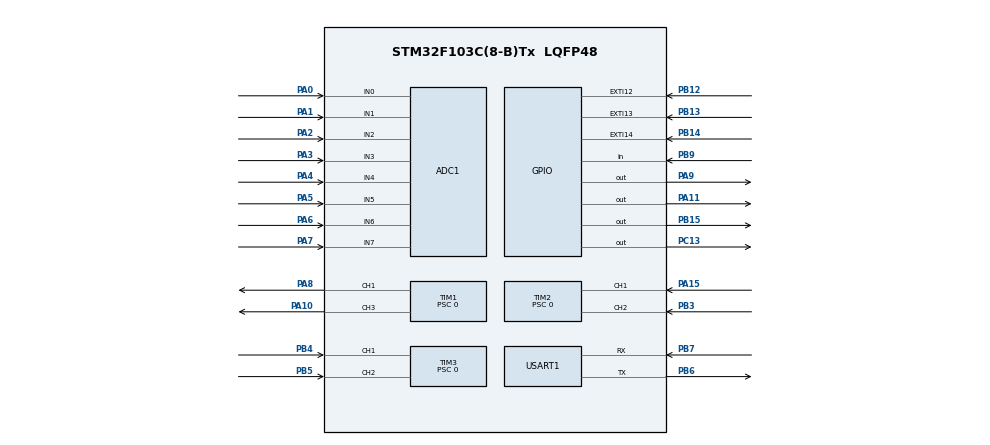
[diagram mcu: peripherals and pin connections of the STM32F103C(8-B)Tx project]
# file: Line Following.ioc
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ADC1.Channel-0\#ChannelRegularConversion=ADC_CHANNEL_0
ADC1.Channel-1\#ChannelRegularConversion=ADC_CHANNEL_1
ADC1.Channel-2\#ChannelRegularConversion=ADC_CHANNEL_2
ADC1.Channel-3\#ChannelRegularConversion=ADC_CHANNEL_3
ADC1.Channel-4\#ChannelRegularConversion=ADC_CHANNEL_4
ADC1.Channel-5\#ChannelRegularConversion=ADC_CHANNEL_5
ADC1.Channel-6\#ChannelRegularConversion=ADC_CHANNEL_6
ADC1.Channel-7\#ChannelRegularConversion=ADC_CHANNEL_7
ADC1.ContinuousConvMode=ENABLE
ADC1.NbrOfConversion=8
ADC1.NbrOfConversionFlag=1
ADC1.Rank-0\#ChannelRegularConversion=1
ADC1.Rank-1\#ChannelRegularConversion=2
ADC1.Rank-2\#ChannelRegularConversion=3
ADC1.Rank-3\#ChannelRegularConversion=4
ADC1.Rank-4\#ChannelRegularConversion=5
ADC1.Rank-5\#ChannelRegularConversion=6
ADC1.Rank-6\#ChannelRegularConversion=7
ADC1.Rank-7\#ChannelRegularConversion=8
ADC1.SamplingTime-0\#ChannelRegularConversion=ADC_SAMPLETIME_55CYCLES_5
ADC1.SamplingTime-1\#ChannelRegularConversion=ADC_SAMPLETIME_55CYCLES_5
ADC1.SamplingTime-2\#ChannelRegularConversion=ADC_SAMPLETIME_55CYCLES_5
ADC1.SamplingTime-3\#ChannelRegularConversion=ADC_SAMPLETIME_55CYCLES_5
ADC1.SamplingTime-4\#ChannelRegularConversion=ADC_SAMPLETIME_55CYCLES_5
ADC1.SamplingTime-5\#ChannelRegularConversion=ADC_SAMPLETIME_55CYCLES_5
ADC1.SamplingTime-6\#ChannelRegularConversion=ADC_SAMPLETIME_55CYCLES_5
ADC1.SamplingTime-7\#ChannelRegularConversion=ADC_SAMPLETIME_55CYCLES_5
ADC1.master=1
Dma.ADC1.0.Direction=DMA_PERIPH_TO_MEMORY
Dma.ADC1.0.Instance=DMA1_Channel1
Dma.ADC1.0.MemDataAlignment=DMA_MDATAALIGN_HALFWORD
Dma.ADC1.0.MemInc=DMA_MINC_ENABLE
Dma.ADC1.0.Mode=DMA_CIRCULAR
Dma.ADC1.0.PeriphDataAlignment=DMA_PDATAALIGN_HALFWORD
Dma.ADC1.0.PeriphInc=DMA_PINC_DISABLE
Dma.ADC1.0.Priority=DMA_PRIORITY_HIGH
Dma.Request0=ADC1
Mcu.Family=STM32F1
Mcu.Name=STM32F103C(8-B)Tx
Mcu.Package=LQFP48
NVIC.DMA1_Channel1_IRQn=true\:1\:0\:true\:false\:true\:false\:true
NVIC.EXTI15_10_IRQn=true\:2\:0\:true\:false\:true\:true\:true
NVIC.PriorityGroup=NVIC_PRIORITYGROUP_4
NVIC.TIM2_IRQn=true\:2\:0\:true\:false\:true\:true\:true
NVIC.TIM3_IRQn=true\:2\:0\:true\:false\:true\:true\:true
NVIC.TIM4_IRQn=true\:0\:0\:false\:false\:true\:true\:true
NVIC.USART1_IRQn=true\:2\:0\:true\:false\:true\:true\:true
PA0-WKUP.Signal=ADCx_IN0
PA1.Signal=ADCx_IN1
PA10.GPIO_Speed=GPIO_SPEED_FREQ_HIGH
PA10.Signal=S_TIM1_CH3
PA11.GPIO_Speed=GPIO_SPEED_FREQ_HIGH
PA11.PinState=GPIO_PIN_RESET
PA11.Signal=GPIO_Output
PA13.Mode=Serial_Wire
PA13.Signal=SYS_JTMS-SWDIO
PA14.Mode=Serial_Wire
PA14.Signal=SYS_JTCK-SWCLK
PA15.GPIO_Mode=GPIO_MODE_INPUT
PA15.GPIO_PuPd=GPIO_NOPULL
PA15.Signal=S_TIM2_CH1_ETR
PA2.Signal=ADCx_IN2
PA3.Signal=ADCx_IN3
PA4.Signal=ADCx_IN4
PA5.Signal=ADCx_IN5
PA6.Signal=ADCx_IN6
PA7.Signal=ADCx_IN7
PA8.GPIO_Speed=GPIO_SPEED_FREQ_HIGH
PA8.Signal=S_TIM1_CH1
PA9.Signal=GPIO_Output
PB12.Signal=GPXTI12
PB13.Signal=GPXTI13
PB14.Signal=GPXTI14
PB15.GPIO_Speed=GPIO_SPEED_FREQ_HIGH
PB15.Signal=GPIO_Output
PB3.GPIO_Mode=GPIO_MODE_INPUT
PB3.GPIO_PuPd=GPIO_NOPULL
PB3.Signal=S_TIM2_CH2
PB4.GPIO_Mode=GPIO_MODE_INPUT
PB4.Signal=S_TIM3_CH1
PB5.GPIO_Mode=GPIO_MODE_INPUT
PB5.Signal=S_TIM3_CH2
PB6.Mode=Asynchronous
PB6.Signal=USART1_TX
PB7.Mode=Asynchronous
PB7.Signal=USART1_RX
PB8.Signal=I2C1_SCL
PB9.GPIO_PuPd=GPIO_PULLUP
PB9.Signal=GPIO_Input
PC13-TAMPER-RTC.Signal=GPIO_Output
PD0-OSC_IN.Mode=HSE-External-Oscillator
PD0-OSC_IN.Signal=RCC_OSC_IN
PD1-OSC_OUT.Mode=HSE-External-Oscillator
PD1-OSC_OUT.Signal=RCC_OSC_OUT
ProjectManager.HeapSize=0x200
ProjectManager.StackSize=0x400
ProjectManager.TargetToolchain=STM32CubeIDE
RCC.ADCPresc=RCC_ADCPCLK2_DIV6
RCC.AHBFreq_Value=72000000
RCC.APB1CLKDivider=RCC_HCLK_DIV2
RCC.APB1Freq_Value=36000000
RCC.APB1TimFreq_Value=72000000
RCC.APB2Freq_Value=72000000
RCC.APB2TimFreq_Value=72000000
RCC.HCLKFreq_Value=72000000
RCC.PLLMUL=RCC_PLL_MUL9
RCC.PLLSourceVirtual=RCC_PLLSOURCE_HSE
RCC.SYSCLKFreq_VALUE=72000000
RCC.SYSCLKSource=RCC_SYSCLKSOURCE_PLLCLK
RCC.USBFreq_Value=72000000
RCC.VDD_VALUE=3.3
SH.ADCx_IN0.0=ADC1_IN0,IN0
SH.ADCx_IN1.0=ADC1_IN1,IN1
SH.ADCx_IN2.0=ADC1_IN2,IN2
SH.ADCx_IN3.0=ADC1_IN3,IN3
SH.ADCx_IN4.0=ADC1_IN4,IN4
SH.ADCx_IN5.0=ADC1_IN5,IN5
SH.ADCx_IN6.0=ADC1_IN6,IN6
SH.ADCx_IN7.0=ADC1_IN7,IN7
SH.S_TIM1_CH1.0=TIM1_CH1,PWM Generation1 CH1
SH.S_TIM1_CH3.0=TIM1_CH3,PWM Generation3 CH3
SH.S_TIM2_CH1_ETR.0=TIM2_CH1,Encoder_Interface
SH.S_TIM2_CH2.0=TIM2_CH2,Encoder_Interface
SH.S_TIM3_CH1.0=TIM3_CH1,Encoder_Interface
SH.S_TIM3_CH2.0=TIM3_CH2,Encoder_Interface
TIM1.AutoReloadPreload=TIM_AUTORELOAD_PRELOAD_DISABLE
TIM1.Channel-PWM\ Generation1\ CH1=TIM_CHANNEL_1
TIM1.Channel-PWM\ Generation3\ CH3=TIM_CHANNEL_3
TIM1.CounterMode=TIM_COUNTERMODE_UP
TIM1.OC1Preload_PWM=ENABLE
TIM1.OCIdleState_1=TIM_OCIDLESTATE_RESET
TIM1.OCPolarity_1=TIM_OCPOLARITY_HIGH
TIM1.Period=7199
TIM1.Prescaler=0
TIM1.Pulse-PWM\ Generation1\ CH1=0
TIM1.Pulse-PWM\ Generation3\ CH3=0
TIM2.AutoReloadPreload=TIM_AUTORELOAD_PRELOAD_DISABLE
TIM2.EncoderMode=TIM_ENCODERMODE_TI12
TIM2.IC1Filter=0
TIM2.IC1Polarity=TIM_ICPOLARITY_RISING
TIM2.IC2Filter=0
TIM2.IC2Polarity=TIM_ICPOLARITY_RISING
TIM2.Period=65535
TIM2.Prescaler=0
TIM3.EncoderMode=TIM_ENCODERMODE_TI12
TIM3.Period=65535
TIM3.Prescaler=0
TIM4.AutoReloadPreload=TIM_AUTORELOAD_PRELOAD_DISABLE
TIM4.Channel-Output\ Compare2\ No\ Output=TIM_CHANNEL_2
TIM4.Channel-PWM\ Generation1\ No\ Output=TIM_CHANNEL_1
TIM4.ClockDivision=TIM_CLOCKDIVISION_DIV1
TIM4.OC1Preload_PWM=DISABLE
TIM4.OCMode_2=TIM_OCMODE_TIMING
TIM4.OCPolarity_1=TIM_OCPOLARITY_HIGH
TIM4.Period=59999
TIM4.Prescaler=23
TIM4.Pulse-Output\ Compare2\ No\ Output=4500
TIM4.Pulse-PWM\ Generation1\ No\ Output=4500
USART1.VirtualMode=VM_ASYNC
USART1.WordLength=WORDLENGTH_9B
VP_TIM4_VS_ClockSourceINT.Mode=Internal
VP_TIM4_VS_no_output1.Mode=PWM Generation1 No Output
VP_TIM4_VS_no_output2.Mode=Output Compare2 No Output
board=custom

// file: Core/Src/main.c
/* USER CODE BEGIN Header */
/**
  ******************************************************************************
  * @file           : main.c
  * @brief          : Main program body
  ******************************************************************************
  * @attention
  *
  * <h2><center>&copy; Copyright (c) 2020 STMicroelectronics.
  * All rights reserved.</center></h2>
  *
  * This software component is licensed by ST under BSD 3-Clause license,
  * the "License"; You may not use this file except in compliance with the
  * License. You may obtain a copy of the License at:
  *                        opensource.org/licenses/BSD-3-Clause
  *
  ******************************************************************************
  */
/* USER CODE END Header */
#include "main.h"

/* USER CODE BEGIN Includes */

#include "MotorControl.h"
#include "PID.h"
/* USER CODE END Includes */

/* USER CODE BEGIN PD */
#define ADC1_DR_Address    ((uint32_t)0x4001244C)
#define ADC_Sample_Times	50000// So Lan doc ADC Lay nguong
#define NumberOfSensor 8

#define DiThang 0
#define LechPhai 1
#define LechTrai -1
#define chuyenLaneTrai -1
#define chuyenLanePhai 1
#define ServoStep 0.3
#define Center 0

//define variables for PID library
#define PID_L_KP 2.43
#define PID_L_KI 2.1
#define PID_L_KD 1.45

#define PID_R_KP 2.79
#define PID_R_KI 2.14
#define PID_R_KD 2.4

#define Car_Kp 0.94
#define Car_Kd 3.2
/* USER CODE END PD */

/* USER CODE BEGIN PM */
#define sbi(Reg, Bit) (Reg |= (1<<Bit))
#define cbi(Reg, Bit) (Reg &= ~(1<<Bit))
/* USER CODE END PM */

/* USER CODE BEGIN PV */

// Sensor Related Variable

volatile uint16_t Sensor_ADC_Value[8];
uint16_t Sensor_Threshold[] = {3000, 2200,3900, 3000, 2000 ,3700 , 3500, 2500};
uint8_t GetThreshold_Flag = 0;
int8_t MaxAngle = 70;
int16_t MaxSpeed = 5000;
// Motor Related Variable
uint8_t LineDetect = 0;
int8_t CarState = 0;
int8_t ChuyenLaneFlag = 0 ;
int8_t SpecialCaseFlag = 0;
int Motor_Speed_L,Motor_Speed_R;
float ServoAngle = 0;
PIDController pid_L = {400,PID_L_KP,PID_L_KI,PID_L_KD};
PIDController pid_R = {388,PID_R_KP,PID_R_KI,PID_R_KD};
PIDController Car = {0,Car_Kp,0,Car_Kd,-300,300};
/* USER CODE END PV */

void SystemClock_Config(void);
static void MX_GPIO_Init(void);
static void MX_DMA_Init(void);
static void MX_TIM1_Init(void);
static void MX_ADC1_Init(void);
static void MX_USART1_UART_Init(void);
static void MX_TIM2_Init(void);
static void MX_TIM3_Init(void);
static void MX_TIM4_Init(void);
/* USER CODE BEGIN PFP */

void GetThreshold();
void Sensor_Convert_A2D();
void Sensor_Print_Thres();
void Sensor_PrintValue();
void Sensor_Print_LineDetect();
void ChuyenLanTrai();
void ChuyenLanPhai();
void CuaVuongTrai();
void CuaVuongPhai();
void GoStraight();
int Error_Return (uint8_t Sensor_Array);
/* USER CODE END PFP */

/* USER CODE BEGIN 0 */
PUTCHAR_PROTOTYPE
{
	while (LL_USART_IsActiveFlag_TC(USART1)==0)
	{}
	LL_USART_TransmitData8(USART1,(uint8_t)ch);

  	return ch;
}
/* USER CODE END 0 */

int main(void)
{

  /* MCU Configuration--------------------------------------------------------*/

  /* Reset of all peripherals, Initializes the Flash interface and the Systick. */

  LL_APB2_GRP1_EnableClock(LL_APB2_GRP1_PERIPH_AFIO);
  LL_APB1_GRP1_EnableClock(LL_APB1_GRP1_PERIPH_PWR);

  NVIC_SetPriorityGrouping(NVIC_PRIORITYGROUP_4);

  /* System interrupt init*/
  /* MemoryManagement_IRQn interrupt configuration */
  NVIC_SetPriority(MemoryManagement_IRQn, NVIC_EncodePriority(NVIC_GetPriorityGrouping(),1, 0));
  /* BusFault_IRQn interrupt configuration */
  NVIC_SetPriority(BusFault_IRQn, NVIC_EncodePriority(NVIC_GetPriorityGrouping(),1, 0));
  /* UsageFault_IRQn interrupt configuration */
  NVIC_SetPriority(UsageFault_IRQn, NVIC_EncodePriority(NVIC_GetPriorityGrouping(),1, 0));
  /* SVCall_IRQn interrupt configuration */
  NVIC_SetPriority(SVCall_IRQn, NVIC_EncodePriority(NVIC_GetPriorityGrouping(),1, 0));
  /* DebugMonitor_IRQn interrupt configuration */
  NVIC_SetPriority(DebugMonitor_IRQn, NVIC_EncodePriority(NVIC_GetPriorityGrouping(),1, 0));
  /* PendSV_IRQn interrupt configuration */
  NVIC_SetPriority(PendSV_IRQn, NVIC_EncodePriority(NVIC_GetPriorityGrouping(),1, 0));
  /* SysTick_IRQn interrupt configuration */
  NVIC_SetPriority(SysTick_IRQn, NVIC_EncodePriority(NVIC_GetPriorityGrouping(),1, 0));

  /** NOJTAG: JTAG-DP Disabled and SW-DP Enabled
  */
  LL_GPIO_AF_Remap_SWJ_NOJTAG();

  /* USER CODE BEGIN Init */
  setvbuf(stdin, NULL, _IONBF, 0);
  setvbuf(stdout, NULL, _IONBF, 0);
  setvbuf(stderr, NULL, _IONBF, 0);
  /* USER CODE END Init */

  /* Configure the system clock */
  SystemClock_Config();

  /* Initialize all configured peripherals */
  MX_GPIO_Init();
  MX_DMA_Init();
  MX_TIM1_Init();
  MX_ADC1_Init();
  MX_USART1_UART_Init();
  MX_TIM2_Init();
  MX_TIM3_Init();
  MX_TIM4_Init();
  PIDController_L_Init(&pid_L);
  PIDController_R_Init(&pid_R);
  PIDController_Car_Init(&Car);
  /* USER CODE BEGIN 2 */
  MotorL_EnablePWM();
  MotorR_EnablePWM();
  MotorL_SetPWM(0);
  MotorR_SetPWM(0);
  Servo_SetAngle(Center);
  OC2_IT_Setmillis(2.5);
  /* USER CODE END 2 */

  /* Infinite loop */
  /* USER CODE BEGIN WHILE */
  while (1)
  {
	  Sensor_Convert_A2D();
//	  Sensor_Print_Thres();
//    Sensor_PrintValue();
//	  Sensor_Print_LineDetect();
//	  if(Btn1_Flag == 1)
//	  {
//		  Btn1_Flag = 0;
//		  Sensor_Print_LineDetect();
//	  }
//	  if(Btn2_Flag == 1)
//	  	  {
//	  		  Btn2_Flag = 0;
//	  		  ServoAngle += ServoStep;
//	  		  Servo_SetAngle(ServoAngle);
//	  		  printf("Servo Angle %g \n", ServoAngle);
//	  	  }
//	  if(Btn3_Flag == 1)
//	  	  {
//	  		  Btn3_Flag = 0;
//	  		  ServoAngle -= ServoStep;
//	  		  Servo_SetAngle(ServoAngle);
//	  		printf("Servo Angle %g \n", ServoAngle);
//	  	  }
	  Motor_Speed_R = 4000 + Line_Follower_PID(3500,Error_Return(LineDetect), &Car);
	  Motor_Speed_L = 4300 - Line_Follower_PID(3500,Error_Return(LineDetect), &Car);
	  Motor_Speed_R = Contants(Motor_Speed_R, -5000,5000);
	  Motor_Speed_L = Contants(Motor_Speed_L, -5300,5300);
	  MotorR_SetPWM(Motor_Speed_R);
	  MotorL_SetPWM(Motor_Speed_L);

    /* USER CODE END WHILE */

    /* USER CODE BEGIN 3 */
   }
//
  /* USER CODE END 3 */
}

void SystemClock_Config(void)
{
  LL_FLASH_SetLatency(LL_FLASH_LATENCY_2);
  while(LL_FLASH_GetLatency()!= LL_FLASH_LATENCY_2)
  {
  }
  LL_RCC_HSE_Enable();

   /* Wait till HSE is ready */
  while(LL_RCC_HSE_IsReady() != 1)
  {

  }
  LL_RCC_PLL_ConfigDomain_SYS(LL_RCC_PLLSOURCE_HSE_DIV_1, LL_RCC_PLL_MUL_9);
  LL_RCC_PLL_Enable();

   /* Wait till PLL is ready */
  while(LL_RCC_PLL_IsReady() != 1)
  {

  }
  LL_RCC_SetAHBPrescaler(LL_RCC_SYSCLK_DIV_1);
  LL_RCC_SetAPB1Prescaler(LL_RCC_APB1_DIV_2);
  LL_RCC_SetAPB2Prescaler(LL_RCC_APB2_DIV_1);
  LL_RCC_SetSysClkSource(LL_RCC_SYS_CLKSOURCE_PLL);

   /* Wait till System clock is ready */
  while(LL_RCC_GetSysClkSource() != LL_RCC_SYS_CLKSOURCE_STATUS_PLL)
  {

  }
  LL_Init1msTick(72000000);
  LL_SetSystemCoreClock(72000000);
  LL_RCC_SetADCClockSource(LL_RCC_ADC_CLKSRC_PCLK2_DIV_6);
}

static void MX_ADC1_Init(void)
{

  LL_ADC_InitTypeDef ADC_InitStruct = {0};
  LL_ADC_CommonInitTypeDef ADC_CommonInitStruct = {0};
  LL_ADC_REG_InitTypeDef ADC_REG_InitStruct = {0};

  LL_GPIO_InitTypeDef GPIO_InitStruct = {0};

  /* Peripheral clock enable */
  LL_APB2_GRP1_EnableClock(LL_APB2_GRP1_PERIPH_ADC1);

  LL_APB2_GRP1_EnableClock(LL_APB2_GRP1_PERIPH_GPIOA);
  /**ADC1 GPIO Configuration
  PA0-WKUP   ------> ADC1_IN0
  PA1   ------> ADC1_IN1
  PA2   ------> ADC1_IN2
  PA3   ------> ADC1_IN3
  PA4   ------> ADC1_IN4
  PA5   ------> ADC1_IN5
  PA6   ------> ADC1_IN6
  PA7   ------> ADC1_IN7
  */
  GPIO_InitStruct.Pin = LL_GPIO_PIN_0|LL_GPIO_PIN_1|LL_GPIO_PIN_2|LL_GPIO_PIN_3
                          |LL_GPIO_PIN_4|LL_GPIO_PIN_5|LL_GPIO_PIN_6|LL_GPIO_PIN_7;
  GPIO_InitStruct.Mode = LL_GPIO_MODE_ANALOG;
  LL_GPIO_Init(GPIOA, &GPIO_InitStruct);

  /* ADC1 DMA Init */

  /* ADC1 Init */
  LL_DMA_SetDataTransferDirection(DMA1, LL_DMA_CHANNEL_1, LL_DMA_DIRECTION_PERIPH_TO_MEMORY);

  LL_DMA_SetChannelPriorityLevel(DMA1, LL_DMA_CHANNEL_1, LL_DMA_PRIORITY_HIGH);

  LL_DMA_SetMode(DMA1, LL_DMA_CHANNEL_1, LL_DMA_MODE_CIRCULAR);

  LL_DMA_SetPeriphIncMode(DMA1, LL_DMA_CHANNEL_1, LL_DMA_PERIPH_NOINCREMENT);

  LL_DMA_SetMemoryIncMode(DMA1, LL_DMA_CHANNEL_1, LL_DMA_MEMORY_INCREMENT);

  LL_DMA_SetPeriphSize(DMA1, LL_DMA_CHANNEL_1, LL_DMA_PDATAALIGN_HALFWORD);

  LL_DMA_SetMemorySize(DMA1, LL_DMA_CHANNEL_1, LL_DMA_MDATAALIGN_HALFWORD);

  /* USER CODE BEGIN ADC1_Init 1 */
  LL_DMA_SetDataLength(DMA1,LL_DMA_CHANNEL_1,8);
  LL_DMA_SetMemoryAddress(DMA1, LL_DMA_CHANNEL_1, (uint32_t) &Sensor_ADC_Value);
  LL_DMA_SetPeriphAddress(DMA1,LL_DMA_CHANNEL_1,ADC1_DR_Address);
  LL_DMA_EnableChannel(DMA1,LL_DMA_CHANNEL_1);
  /* USER CODE END ADC1_Init 1 */
  /** Common config
  */
  ADC_InitStruct.DataAlignment = LL_ADC_DATA_ALIGN_RIGHT;
  ADC_InitStruct.SequencersScanMode = LL_ADC_SEQ_SCAN_ENABLE;
  LL_ADC_Init(ADC1, &ADC_InitStruct);
  ADC_CommonInitStruct.Multimode = LL_ADC_MULTI_INDEPENDENT;
  LL_ADC_CommonInit(__LL_ADC_COMMON_INSTANCE(ADC1), &ADC_CommonInitStruct);
  ADC_REG_InitStruct.TriggerSource = LL_ADC_REG_TRIG_SOFTWARE;
  ADC_REG_InitStruct.SequencerLength = LL_ADC_REG_SEQ_SCAN_ENABLE_8RANKS;
  ADC_REG_InitStruct.SequencerDiscont = LL_ADC_REG_SEQ_DISCONT_DISABLE;
  ADC_REG_InitStruct.ContinuousMode = LL_ADC_REG_CONV_CONTINUOUS;
  ADC_REG_InitStruct.DMATransfer = LL_ADC_REG_DMA_TRANSFER_UNLIMITED;
  LL_ADC_REG_Init(ADC1, &ADC_REG_InitStruct);
  /** Configure Regular Channel
  */
  LL_ADC_REG_SetSequencerRanks(ADC1, LL_ADC_REG_RANK_1, LL_ADC_CHANNEL_0);
  LL_ADC_SetChannelSamplingTime(ADC1, LL_ADC_CHANNEL_0, LL_ADC_SAMPLINGTIME_55CYCLES_5);
  /** Configure Regular Channel
  */
  LL_ADC_REG_SetSequencerRanks(ADC1, LL_ADC_REG_RANK_2, LL_ADC_CHANNEL_1);
  LL_ADC_SetChannelSamplingTime(ADC1, LL_ADC_CHANNEL_1, LL_ADC_SAMPLINGTIME_55CYCLES_5);
  /** Configure Regular Channel
  */
  LL_ADC_REG_SetSequencerRanks(ADC1, LL_ADC_REG_RANK_3, LL_ADC_CHANNEL_2);
  LL_ADC_SetChannelSamplingTime(ADC1, LL_ADC_CHANNEL_2, LL_ADC_SAMPLINGTIME_55CYCLES_5);
  /** Configure Regular Channel
  */
  LL_ADC_REG_SetSequencerRanks(ADC1, LL_ADC_REG_RANK_4, LL_ADC_CHANNEL_3);
  LL_ADC_SetChannelSamplingTime(ADC1, LL_ADC_CHANNEL_3, LL_ADC_SAMPLINGTIME_55CYCLES_5);
  /** Configure Regular Channel
  */
  LL_ADC_REG_SetSequencerRanks(ADC1, LL_ADC_REG_RANK_5, LL_ADC_CHANNEL_4);
  LL_ADC_SetChannelSamplingTime(ADC1, LL_ADC_CHANNEL_4, LL_ADC_SAMPLINGTIME_55CYCLES_5);
  /** Configure Regular Channel
  */
  LL_ADC_REG_SetSequencerRanks(ADC1, LL_ADC_REG_RANK_6, LL_ADC_CHANNEL_5);
  LL_ADC_SetChannelSamplingTime(ADC1, LL_ADC_CHANNEL_5, LL_ADC_SAMPLINGTIME_55CYCLES_5);
  /** Configure Regular Channel
  */
  LL_ADC_REG_SetSequencerRanks(ADC1, LL_ADC_REG_RANK_7, LL_ADC_CHANNEL_6);
  LL_ADC_SetChannelSamplingTime(ADC1, LL_ADC_CHANNEL_6, LL_ADC_SAMPLINGTIME_55CYCLES_5);
  /** Configure Regular Channel
  */
  LL_ADC_REG_SetSequencerRanks(ADC1, LL_ADC_REG_RANK_8, LL_ADC_CHANNEL_7);
  LL_ADC_SetChannelSamplingTime(ADC1, LL_ADC_CHANNEL_7, LL_ADC_SAMPLINGTIME_55CYCLES_5);
  /* USER CODE BEGIN ADC1_Init 2 */

  LL_ADC_REG_SetDMATransfer(ADC1,LL_ADC_REG_DMA_TRANSFER_UNLIMITED);
  /* Khoi dong bo ADC */
  LL_ADC_Enable(ADC1);
  LL_ADC_StartCalibration(ADC1);

  	/* Cho trang thai cablib duoc bat *
  	 *
  	 */
  while(LL_ADC_IsCalibrationOnGoing(ADC1));

  	/* Bat dau chuyen doi ADC */
  LL_ADC_REG_StartConversionSWStart (ADC1);
  /* USER CODE END ADC1_Init 2 */

}

static void MX_TIM1_Init(void)
{

  LL_TIM_InitTypeDef TIM_InitStruct = {0};
  LL_TIM_OC_InitTypeDef TIM_OC_InitStruct = {0};
  LL_TIM_BDTR_InitTypeDef TIM_BDTRInitStruct = {0};

  LL_GPIO_InitTypeDef GPIO_InitStruct = {0};

  /* Peripheral clock enable */
  LL_APB2_GRP1_EnableClock(LL_APB2_GRP1_PERIPH_TIM1);

  TIM_InitStruct.Prescaler = 0;
  TIM_InitStruct.CounterMode = LL_TIM_COUNTERMODE_UP;
  TIM_InitStruct.Autoreload = 7199;
  TIM_InitStruct.ClockDivision = LL_TIM_CLOCKDIVISION_DIV1;
  TIM_InitStruct.RepetitionCounter = 0;
  LL_TIM_Init(TIM1, &TIM_InitStruct);
  LL_TIM_DisableARRPreload(TIM1);
  LL_TIM_OC_EnablePreload(TIM1, LL_TIM_CHANNEL_CH1);
  TIM_OC_InitStruct.OCMode = LL_TIM_OCMODE_PWM1;
  TIM_OC_InitStruct.OCState = LL_TIM_OCSTATE_DISABLE;
  TIM_OC_InitStruct.OCNState = LL_TIM_OCSTATE_DISABLE;
  TIM_OC_InitStruct.CompareValue = 0;
  TIM_OC_InitStruct.OCPolarity = LL_TIM_OCPOLARITY_HIGH;
  TIM_OC_InitStruct.OCNPolarity = LL_TIM_OCPOLARITY_HIGH;
  TIM_OC_InitStruct.OCIdleState = LL_TIM_OCIDLESTATE_LOW;
  TIM_OC_InitStruct.OCNIdleState = LL_TIM_OCIDLESTATE_LOW;
  LL_TIM_OC_Init(TIM1, LL_TIM_CHANNEL_CH1, &TIM_OC_InitStruct);
  LL_TIM_OC_DisableFast(TIM1, LL_TIM_CHANNEL_CH1);
  LL_TIM_OC_EnablePreload(TIM1, LL_TIM_CHANNEL_CH3);
  TIM_OC_InitStruct.OCState = LL_TIM_OCSTATE_DISABLE;
  TIM_OC_InitStruct.OCNState = LL_TIM_OCSTATE_DISABLE;
  LL_TIM_OC_Init(TIM1, LL_TIM_CHANNEL_CH3, &TIM_OC_InitStruct);
  LL_TIM_OC_DisableFast(TIM1, LL_TIM_CHANNEL_CH3);
  LL_TIM_SetTriggerOutput(TIM1, LL_TIM_TRGO_RESET);
  LL_TIM_DisableMasterSlaveMode(TIM1);
  TIM_BDTRInitStruct.OSSRState = LL_TIM_OSSR_DISABLE;
  TIM_BDTRInitStruct.OSSIState = LL_TIM_OSSI_DISABLE;
  TIM_BDTRInitStruct.LockLevel = LL_TIM_LOCKLEVEL_OFF;
  TIM_BDTRInitStruct.DeadTime = 0;
  TIM_BDTRInitStruct.BreakState = LL_TIM_BREAK_DISABLE;
  TIM_BDTRInitStruct.BreakPolarity = LL_TIM_BREAK_POLARITY_HIGH;
  TIM_BDTRInitStruct.AutomaticOutput = LL_TIM_AUTOMATICOUTPUT_DISABLE;
  LL_TIM_BDTR_Init(TIM1, &TIM_BDTRInitStruct);
  /* USER CODE BEGIN TIM1_Init 2 */
  LL_TIM_EnableIT_UPDATE(TIM1);
  LL_TIM_SetCounter(TIM1,0);
  LL_TIM_EnableAllOutputs(TIM1);
  LL_TIM_EnableCounter(TIM1);

  /* USER CODE END TIM1_Init 2 */
  LL_APB2_GRP1_EnableClock(LL_APB2_GRP1_PERIPH_GPIOA);
  /**TIM1 GPIO Configuration
  PA8   ------> TIM1_CH1
  PA10   ------> TIM1_CH3
  */
  GPIO_InitStruct.Pin = LL_GPIO_PIN_8|LL_GPIO_PIN_10;
  GPIO_InitStruct.Mode = LL_GPIO_MODE_ALTERNATE;
  GPIO_InitStruct.Speed = LL_GPIO_SPEED_FREQ_HIGH;
  GPIO_InitStruct.OutputType = LL_GPIO_OUTPUT_PUSHPULL;
  LL_GPIO_Init(GPIOA, &GPIO_InitStruct);

}

static void MX_TIM2_Init(void)
{

  LL_TIM_InitTypeDef TIM_InitStruct = {0};

  LL_GPIO_InitTypeDef GPIO_InitStruct = {0};

  /* Peripheral clock enable */
  LL_APB1_GRP1_EnableClock(LL_APB1_GRP1_PERIPH_TIM2);

  LL_APB2_GRP1_EnableClock(LL_APB2_GRP1_PERIPH_GPIOA);
  LL_APB2_GRP1_EnableClock(LL_APB2_GRP1_PERIPH_GPIOB);
  /**TIM2 GPIO Configuration
  PA15   ------> TIM2_CH1
  PB3   ------> TIM2_CH2
  */
  GPIO_InitStruct.Pin = LL_GPIO_PIN_15;
  GPIO_InitStruct.Mode = LL_GPIO_MODE_FLOATING;
  LL_GPIO_Init(GPIOA, &GPIO_InitStruct);

  GPIO_InitStruct.Pin = LL_GPIO_PIN_3;
  GPIO_InitStruct.Mode = LL_GPIO_MODE_FLOATING;
  LL_GPIO_Init(GPIOB, &GPIO_InitStruct);

  /* TIM2 interrupt Init */
  NVIC_SetPriority(TIM2_IRQn, NVIC_EncodePriority(NVIC_GetPriorityGrouping(),2, 0));
  NVIC_EnableIRQ(TIM2_IRQn);

  /* USER CODE BEGIN TIM2_Init 1 */
  LL_GPIO_AF_EnableRemap_TIM2();
  /* USER CODE END TIM2_Init 1 */
  LL_TIM_SetEncoderMode(TIM2, LL_TIM_ENCODERMODE_X4_TI12);
  LL_TIM_IC_SetActiveInput(TIM2, LL_TIM_CHANNEL_CH1, LL_TIM_ACTIVEINPUT_DIRECTTI);
  LL_TIM_IC_SetPrescaler(TIM2, LL_TIM_CHANNEL_CH1, LL_TIM_ICPSC_DIV1);
  LL_TIM_IC_SetFilter(TIM2, LL_TIM_CHANNEL_CH1, LL_TIM_IC_FILTER_FDIV1);
  LL_TIM_IC_SetPolarity(TIM2, LL_TIM_CHANNEL_CH1, LL_TIM_IC_POLARITY_RISING);
  LL_TIM_IC_SetActiveInput(TIM2, LL_TIM_CHANNEL_CH2, LL_TIM_ACTIVEINPUT_DIRECTTI);
  LL_TIM_IC_SetPrescaler(TIM2, LL_TIM_CHANNEL_CH2, LL_TIM_ICPSC_DIV1);
  LL_TIM_IC_SetFilter(TIM2, LL_TIM_CHANNEL_CH2, LL_TIM_IC_FILTER_FDIV1);
  LL_TIM_IC_SetPolarity(TIM2, LL_TIM_CHANNEL_CH2, LL_TIM_IC_POLARITY_RISING);
  TIM_InitStruct.Prescaler = 0;
  TIM_InitStruct.CounterMode = LL_TIM_COUNTERMODE_UP;
  TIM_InitStruct.Autoreload = 65535;
  TIM_InitStruct.ClockDivision = LL_TIM_CLOCKDIVISION_DIV1;
  LL_TIM_Init(TIM2, &TIM_InitStruct);
  LL_TIM_DisableARRPreload(TIM2);
  LL_TIM_SetTriggerOutput(TIM2, LL_TIM_TRGO_RESET);
  LL_TIM_DisableMasterSlaveMode(TIM2);
  /* USER CODE BEGIN TIM2_Init 2 */
//  LL_TIM_CC_EnableChannel(TIM2,LL_TIM_CHANNEL_CH1);
//  LL_TIM_CC_EnableChannel(TIM2,LL_TIM_CHANNEL_CH2);
  LL_TIM_SetCounter(TIM2,0);
  LL_TIM_ClearFlag_UPDATE(TIM2);
  LL_TIM_EnableIT_UPDATE(TIM2);
  LL_TIM_EnableCounter(TIM2);
  /* USER CODE END TIM2_Init 2 */

}

static void MX_TIM3_Init(void)
{

  LL_TIM_InitTypeDef TIM_InitStruct = {0};

  LL_GPIO_InitTypeDef GPIO_InitStruct = {0};

  /* Peripheral clock enable */
  LL_APB1_GRP1_EnableClock(LL_APB1_GRP1_PERIPH_TIM3);

  LL_APB2_GRP1_EnableClock(LL_APB2_GRP1_PERIPH_GPIOB);
  /**TIM3 GPIO Configuration
  PB4   ------> TIM3_CH1
  PB5   ------> TIM3_CH2
  */
  GPIO_InitStruct.Pin = LL_GPIO_PIN_4|LL_GPIO_PIN_5;
  GPIO_InitStruct.Mode = LL_GPIO_MODE_FLOATING;
  LL_GPIO_Init(GPIOB, &GPIO_InitStruct);

  /* TIM3 interrupt Init */
  NVIC_SetPriority(TIM3_IRQn, NVIC_EncodePriority(NVIC_GetPriorityGrouping(),2, 0));
  NVIC_EnableIRQ(TIM3_IRQn);

  /* USER CODE BEGIN TIM3_Init 1 */
  LL_GPIO_AF_RemapPartial_TIM3();
  /* USER CODE END TIM3_Init 1 */
  LL_TIM_SetEncoderMode(TIM3, LL_TIM_ENCODERMODE_X4_TI12);
  LL_TIM_IC_SetActiveInput(TIM3, LL_TIM_CHANNEL_CH1, LL_TIM_ACTIVEINPUT_DIRECTTI);
  LL_TIM_IC_SetPrescaler(TIM3, LL_TIM_CHANNEL_CH1, LL_TIM_ICPSC_DIV1);
  LL_TIM_IC_SetFilter(TIM3, LL_TIM_CHANNEL_CH1, LL_TIM_IC_FILTER_FDIV1);
  LL_TIM_IC_SetPolarity(TIM3, LL_TIM_CHANNEL_CH1, LL_TIM_IC_POLARITY_RISING);
  LL_TIM_IC_SetActiveInput(TIM3, LL_TIM_CHANNEL_CH2, LL_TIM_ACTIVEINPUT_DIRECTTI);
  LL_TIM_IC_SetPrescaler(TIM3, LL_TIM_CHANNEL_CH2, LL_TIM_ICPSC_DIV1);
  LL_TIM_IC_SetFilter(TIM3, LL_TIM_CHANNEL_CH2, LL_TIM_IC_FILTER_FDIV1);
  LL_TIM_IC_SetPolarity(TIM3, LL_TIM_CHANNEL_CH2, LL_TIM_IC_POLARITY_RISING);
  TIM_InitStruct.Prescaler = 0;
  TIM_InitStruct.CounterMode = LL_TIM_COUNTERMODE_UP;
  TIM_InitStruct.Autoreload = 65535;
  TIM_InitStruct.ClockDivision = LL_TIM_CLOCKDIVISION_DIV1;
  LL_TIM_Init(TIM3, &TIM_InitStruct);
  LL_TIM_DisableARRPreload(TIM3);
  LL_TIM_SetTriggerOutput(TIM3, LL_TIM_TRGO_RESET);
  LL_TIM_DisableMasterSlaveMode(TIM3);
  /* USER CODE BEGIN TIM3_Init 2 */
  LL_TIM_ClearFlag_UPDATE(TIM3);
  LL_TIM_EnableIT_UPDATE(TIM3);
  LL_TIM_SetCounter(TIM3,0);
   LL_TIM_EnableCounter(TIM3);

  /* USER CODE END TIM3_Init 2 */

}

static void MX_TIM4_Init(void)
{

  LL_TIM_InitTypeDef TIM_InitStruct = {0};
  LL_TIM_OC_InitTypeDef TIM_OC_InitStruct = {0};

  /* Peripheral clock enable */
  LL_APB1_GRP1_EnableClock(LL_APB1_GRP1_PERIPH_TIM4);

  /* TIM4 interrupt Init */
  NVIC_SetPriority(TIM4_IRQn, NVIC_EncodePriority(NVIC_GetPriorityGrouping(),0, 0));
  NVIC_EnableIRQ(TIM4_IRQn);

  TIM_InitStruct.Prescaler = 23;
  TIM_InitStruct.CounterMode = LL_TIM_COUNTERMODE_UP;
  TIM_InitStruct.Autoreload = 59999;
  TIM_InitStruct.ClockDivision = LL_TIM_CLOCKDIVISION_DIV1;
  LL_TIM_Init(TIM4, &TIM_InitStruct);
  LL_TIM_DisableARRPreload(TIM4);
  LL_TIM_SetClockSource(TIM4, LL_TIM_CLOCKSOURCE_INTERNAL);
  LL_TIM_OC_EnablePreload(TIM4, LL_TIM_CHANNEL_CH1);
  TIM_OC_InitStruct.OCMode = LL_TIM_OCMODE_PWM1;
  TIM_OC_InitStruct.OCState = LL_TIM_OCSTATE_DISABLE;
  TIM_OC_InitStruct.OCNState = LL_TIM_OCSTATE_DISABLE;
  TIM_OC_InitStruct.CompareValue = 4500;
  TIM_OC_InitStruct.OCPolarity = LL_TIM_OCPOLARITY_HIGH;
  LL_TIM_OC_Init(TIM4, LL_TIM_CHANNEL_CH1, &TIM_OC_InitStruct);
  LL_TIM_OC_DisableFast(TIM4, LL_TIM_CHANNEL_CH1);
  TIM_OC_InitStruct.OCMode = LL_TIM_OCMODE_FROZEN;
  TIM_OC_InitStruct.OCState = LL_TIM_OCSTATE_DISABLE;
  TIM_OC_InitStruct.OCNState = LL_TIM_OCSTATE_DISABLE;
  LL_TIM_OC_Init(TIM4, LL_TIM_CHANNEL_CH2, &TIM_OC_InitStruct);
  LL_TIM_OC_DisableFast(TIM4, LL_TIM_CHANNEL_CH2);
  LL_TIM_SetTriggerOutput(TIM4, LL_TIM_TRGO_RESET);
  LL_TIM_DisableMasterSlaveMode(TIM4);
  LL_TIM_OC_DisablePreload(TIM4, LL_TIM_CHANNEL_CH1);
  /* USER CODE BEGIN TIM4_Init 2 */

  LL_TIM_EnableIT_UPDATE(TIM4);
  LL_TIM_ClearFlag_UPDATE(TIM4);

  LL_TIM_EnableIT_CC1(TIM4);
  LL_TIM_ClearFlag_CC1(TIM4);
//
  LL_TIM_EnableIT_CC2(TIM4);
  LL_TIM_ClearFlag_CC2(TIM4);

  LL_TIM_SetCounter(TIM4,0);
  LL_TIM_EnableCounter(TIM4);

  /* USER CODE END TIM4_Init 2 */

}

static void MX_USART1_UART_Init(void)
{

  LL_USART_InitTypeDef USART_InitStruct = {0};

  LL_GPIO_InitTypeDef GPIO_InitStruct = {0};

  /* Peripheral clock enable */
  LL_APB2_GRP1_EnableClock(LL_APB2_GRP1_PERIPH_USART1);

  LL_APB2_GRP1_EnableClock(LL_APB2_GRP1_PERIPH_GPIOB);
  /**USART1 GPIO Configuration
  PB6   ------> USART1_TX
  PB7   ------> USART1_RX
  */
  GPIO_InitStruct.Pin = LL_GPIO_PIN_6;
  GPIO_InitStruct.Mode = LL_GPIO_MODE_ALTERNATE;
  GPIO_InitStruct.Speed = LL_GPIO_SPEED_FREQ_HIGH;
  GPIO_InitStruct.OutputType = LL_GPIO_OUTPUT_PUSHPULL;
  LL_GPIO_Init(GPIOB, &GPIO_InitStruct);

  GPIO_InitStruct.Pin = LL_GPIO_PIN_7;
  GPIO_InitStruct.Mode = LL_GPIO_MODE_FLOATING;
  LL_GPIO_Init(GPIOB, &GPIO_InitStruct);

  LL_GPIO_AF_EnableRemap_USART1();

  /* USART1 interrupt Init */
  NVIC_SetPriority(USART1_IRQn, NVIC_EncodePriority(NVIC_GetPriorityGrouping(),2, 0));
  NVIC_EnableIRQ(USART1_IRQn);

  USART_InitStruct.BaudRate = 115200;
  USART_InitStruct.DataWidth = LL_USART_DATAWIDTH_9B;
  USART_InitStruct.StopBits = LL_USART_STOPBITS_1;
  USART_InitStruct.Parity = LL_USART_PARITY_NONE;
  USART_InitStruct.TransferDirection = LL_USART_DIRECTION_TX_RX;
  USART_InitStruct.HardwareFlowControl = LL_USART_HWCONTROL_NONE;
  USART_InitStruct.OverSampling = LL_USART_OVERSAMPLING_16;
  LL_USART_Init(USART1, &USART_InitStruct);
  LL_USART_ConfigAsyncMode(USART1);
  LL_USART_Enable(USART1);

}

static void MX_DMA_Init(void)
{

  /* Init with LL driver */
  /* DMA controller clock enable */
  LL_AHB1_GRP1_EnableClock(LL_AHB1_GRP1_PERIPH_DMA1);

  /* DMA interrupt init */
  /* DMA1_Channel1_IRQn interrupt configuration */
  NVIC_SetPriority(DMA1_Channel1_IRQn, NVIC_EncodePriority(NVIC_GetPriorityGrouping(),1, 0));
  NVIC_EnableIRQ(DMA1_Channel1_IRQn);

}

static void MX_GPIO_Init(void)
{
  LL_EXTI_InitTypeDef EXTI_InitStruct = {0};
  LL_GPIO_InitTypeDef GPIO_InitStruct = {0};

  /* GPIO Ports Clock Enable */
  LL_APB2_GRP1_EnableClock(LL_APB2_GRP1_PERIPH_GPIOC);
  LL_APB2_GRP1_EnableClock(LL_APB2_GRP1_PERIPH_GPIOD);
  LL_APB2_GRP1_EnableClock(LL_APB2_GRP1_PERIPH_GPIOA);
  LL_APB2_GRP1_EnableClock(LL_APB2_GRP1_PERIPH_GPIOB);

  /**/
  LL_GPIO_ResetOutputPin(GPIOC, LL_GPIO_PIN_13);

  /**/
  LL_GPIO_ResetOutputPin(GPIOB, LL_GPIO_PIN_15);

  /**/
  LL_GPIO_ResetOutputPin(GPIOA, LL_GPIO_PIN_9|LL_GPIO_PIN_11);

  /**/
  GPIO_InitStruct.Pin = LL_GPIO_PIN_13;
  GPIO_InitStruct.Mode = LL_GPIO_MODE_OUTPUT;
  GPIO_InitStruct.Speed = LL_GPIO_SPEED_FREQ_LOW;
  GPIO_InitStruct.OutputType = LL_GPIO_OUTPUT_PUSHPULL;
  LL_GPIO_Init(GPIOC, &GPIO_InitStruct);

  /**/
  GPIO_InitStruct.Pin = LL_GPIO_PIN_15;
  GPIO_InitStruct.Mode = LL_GPIO_MODE_OUTPUT;
  GPIO_InitStruct.Speed = LL_GPIO_SPEED_FREQ_HIGH;
  GPIO_InitStruct.OutputType = LL_GPIO_OUTPUT_PUSHPULL;
  LL_GPIO_Init(GPIOB, &GPIO_InitStruct);

  /**/
  GPIO_InitStruct.Pin = LL_GPIO_PIN_9;
  GPIO_InitStruct.Mode = LL_GPIO_MODE_OUTPUT;
  GPIO_InitStruct.Speed = LL_GPIO_SPEED_FREQ_LOW;
  GPIO_InitStruct.OutputType = LL_GPIO_OUTPUT_PUSHPULL;
  LL_GPIO_Init(GPIOA, &GPIO_InitStruct);

  /**/
  GPIO_InitStruct.Pin = LL_GPIO_PIN_11;
  GPIO_InitStruct.Mode = LL_GPIO_MODE_OUTPUT;
  GPIO_InitStruct.Speed = LL_GPIO_SPEED_FREQ_HIGH;
  GPIO_InitStruct.OutputType = LL_GPIO_OUTPUT_PUSHPULL;
  LL_GPIO_Init(GPIOA, &GPIO_InitStruct);

  /**/
  GPIO_InitStruct.Pin = LL_GPIO_PIN_8;
  GPIO_InitStruct.Mode = LL_GPIO_MODE_ALTERNATE;
  GPIO_InitStruct.Speed = LL_GPIO_SPEED_FREQ_HIGH;
  GPIO_InitStruct.OutputType = LL_GPIO_OUTPUT_OPENDRAIN;
  LL_GPIO_Init(GPIOB, &GPIO_InitStruct);

  /**/
  GPIO_InitStruct.Pin = LL_GPIO_PIN_9;
  GPIO_InitStruct.Mode = LL_GPIO_MODE_INPUT;
  GPIO_InitStruct.Pull = LL_GPIO_PULL_UP;
  LL_GPIO_Init(GPIOB, &GPIO_InitStruct);

  /**/
  LL_GPIO_AF_SetEXTISource(LL_GPIO_AF_EXTI_PORTB, LL_GPIO_AF_EXTI_LINE12);

  /**/
  LL_GPIO_AF_SetEXTISource(LL_GPIO_AF_EXTI_PORTB, LL_GPIO_AF_EXTI_LINE13);

  /**/
  LL_GPIO_AF_SetEXTISource(LL_GPIO_AF_EXTI_PORTB, LL_GPIO_AF_EXTI_LINE14);

  /**/
  EXTI_InitStruct.Line_0_31 = LL_EXTI_LINE_12;
  EXTI_InitStruct.LineCommand = ENABLE;
  EXTI_InitStruct.Mode = LL_EXTI_MODE_IT;
  EXTI_InitStruct.Trigger = LL_EXTI_TRIGGER_RISING;
  LL_EXTI_Init(&EXTI_InitStruct);

  /**/
  EXTI_InitStruct.Line_0_31 = LL_EXTI_LINE_13;
  EXTI_InitStruct.LineCommand = ENABLE;
  EXTI_InitStruct.Mode = LL_EXTI_MODE_IT;
  EXTI_InitStruct.Trigger = LL_EXTI_TRIGGER_RISING;
  LL_EXTI_Init(&EXTI_InitStruct);

  /**/
  EXTI_InitStruct.Line_0_31 = LL_EXTI_LINE_14;
  EXTI_InitStruct.LineCommand = ENABLE;
  EXTI_InitStruct.Mode = LL_EXTI_MODE_IT;
  EXTI_InitStruct.Trigger = LL_EXTI_TRIGGER_RISING;
  LL_EXTI_Init(&EXTI_InitStruct);

  /**/
  LL_GPIO_SetPinMode(GPIOB, LL_GPIO_PIN_12, LL_GPIO_MODE_FLOATING);

  /**/
  LL_GPIO_SetPinMode(GPIOB, LL_GPIO_PIN_13, LL_GPIO_MODE_FLOATING);

  /**/
  LL_GPIO_SetPinMode(GPIOB, LL_GPIO_PIN_14, LL_GPIO_MODE_FLOATING);

  /**/

  /* EXTI interrupt init*/
  NVIC_SetPriority(EXTI15_10_IRQn, NVIC_EncodePriority(NVIC_GetPriorityGrouping(),2, 0));
  NVIC_EnableIRQ(EXTI15_10_IRQn);

}

/* USER CODE BEGIN 4 */
//void CuaVuongTrai()
//{
//	while(LineDetect != 0b00011000 &&
//		  LineDetect != 0b00010000 &&
//		  LineDetect != 0b00001000 &&
//		  LineDetect != 0b00011100)
//	{
//		Sensor_Convert_A2D();
//		MotorL_SetPWM(-7200);
//		MotorR_SetPWM(7200);
//		Servo_SetAngle(-70);
//	}
//	ChuyenLaneFlag = 0;
//	SpecialCaseFlag = 0;
//}
//void CuaVuongPhai()
//{
//	while(LineDetect != 0b00011000 &&
//		  LineDetect != 0b00010000 &&
//		  LineDetect != 0b00001000 &&
//		  LineDetect != 0b00111000)
//	{
//		Sensor_Convert_A2D();
//		MotorR_SetPWM(-7200);
//		MotorL_SetPWM(7200);
//		Servo_SetAngle(70);
//	}
//
//		ChuyenLaneFlag = 0;
//		SpecialCaseFlag = 0;
//}
//void ChuyenLanTrai()
//{
//	ChuyenLaneFlag = 0;
//	MotorR_SetPWM(MaxSpeed);
//	MotorL_SetPWM(MaxSpeed * 0.7);
//	Servo_SetAngle(-31);
//	CarState = LechPhai;
//}
//void ChuyenLanPhai()
//{
//	ChuyenLaneFlag = 0;
//	MotorL_SetPWM(MaxSpeed);
//	MotorR_SetPWM(MaxSpeed * 0.7);
//	Servo_SetAngle(38);
//	CarState = LechTrai;
//}
//void GoStraight()
//{
//	MotorL_SetPWM(MaxSpeed);
//	MotorR_SetPWM(MaxSpeed);
//	Servo_SetAngle(Center);
//	ChuyenLaneFlag = 0;
//}
int Error_Return (uint8_t Sensor_Array){
	switch(Sensor_Array){
	case 0b00011111:
		return -500000000;
		break;
	case 0b00001111:
		return 20000+16500;
		break;
	case 0b00000111:
		return 18000+3600;
		break;
	case 0b00000101:
		return 18000+3600;
		break;
	case 0b00001110:
		return 16000+2000;
		break;
	case 0b00000001:
		return 15500;
		break;
	case 0b00000011:
		return 13600;
		break;
	case 0b00000010:
		return 9700;
		break;
	case 0b00000110:
		return 8000;
		break;
	case 0b00000100:
		return 5000;
		break;
	case 0b00001100:
		return 4500;
		break;
	case 0b00001000:
		return 4000;
		break;
	case 0b00000000:
		return 3500;
		break;
	case 0b00010000:
		return 3000;
		break;
	case 0b00110000:
		return 2500;
		break;
	case 0b00100000:
		return 2000;
		break;
	case 0b01100000:
		return -4000;
		break;
	case 0b01000000:
		return -5000;
		break;
	case 0b11000000:
		return -2000-4000;
		break;
	case 0b10000000:
		return -4000-6000;
		break;
	case 0b01110000:
		return -7000-7000;
		break;
	case 0b11100000:
		return -9000-15000;
		break;
	case 0b11110000:
		return -9500-17000;
		break;
	default:
		break;
	}
}
void GetThreshold()
{
//	  printf("Getting White Line");
	  uint16_t WhiteValue[] = {0, 0, 0, 0, 0, 0, 0, 0};
	 for(int i = 0; i < ADC_Sample_Times; ++i)
	 {
		 for(int i = 0; i < NumberOfSensor; ++i)
		 {
			 if(WhiteValue[i] > Sensor_ADC_Value[i])
			 {
				 WhiteValue[i] = Sensor_ADC_Value[i];
			 }
		 }
	 }
	 LL_mDelay(1000);
//	 printf("Getting Black Line");
	 LL_mDelay(1000);
	 uint16_t BlackValue[] = {4095, 4095, 4095, 4095, 4095, 4095, 4095, 4095};
	 for(int i = 0; i < ADC_Sample_Times; ++i)
	 {
		 for(int i = 0; i < NumberOfSensor; ++i)
		 {
			 if(BlackValue[i] > Sensor_ADC_Value[i])
			 {
				BlackValue[i] = Sensor_ADC_Value[i];
			 }
		 }
	 }
	 printf("Done");
	 for(int i = 0; i < 8; ++i)
	 {
		 Sensor_Threshold[i] = (BlackValue[i] + WhiteValue[i])/2;
	 }
}
void Sensor_Convert_A2D()
{
	LineDetect = 0;
	for(int i = 0; i < 8; ++i)
	  {
		  if(Sensor_ADC_Value[i] > Sensor_Threshold[i])
		  {
			  sbi(LineDetect, (7-i));
//			  printf("1 ");
		  }else
		  {
//			  printf("0 ");
		  }
	  };
//	printf("\n");
//	LL_mDelay(120);
}

void Sensor_Print_Thres()
{
	printf("Threshold Val:  ");
	  for(int i = 0; i < 8; ++i)
	 {
		  printf("%u ", Sensor_Threshold[i]);
	 }
	  printf("\n");
}
void Sensor_PrintValue()
{
	printf("Sensor Val: ");
  for(int i = 0; i < 8; ++i)
  {
	  printf("%u ", Sensor_ADC_Value[i]);
  };
  printf("\n");

}

void Sensor_Print_LineDetect()
{

		char buffer[8];
		itoa (LineDetect,buffer,2);
		printf ("binary: %s\n",buffer);

}
int Contants (int Present_Value,int Min,int Max){
	if(Present_Value > Max){
		return Present_Value = Max;
	}
	else if (Present_Value < Min ){
		return Present_Value = Min;
	}
	else
		return Present_Value;
}
void Left_Motor(int16_t L_RPM){
	MotorL_SetPWM(RPM_Convert_PWM_L(L_RPM, rate1, &pid_L));
}
void Right_Motor(int16_t R_RPM){
	MotorR_SetPWM(RPM_Convert_PWM_R(R_RPM, rate2,  &pid_R));
}
void Sensor_Print_LineDetect();
/* USER CODE END 4 */

void Error_Handler(void)
{
}

/************************ (C) COPYRIGHT STMicroelectronics *****END OF FILE****/
